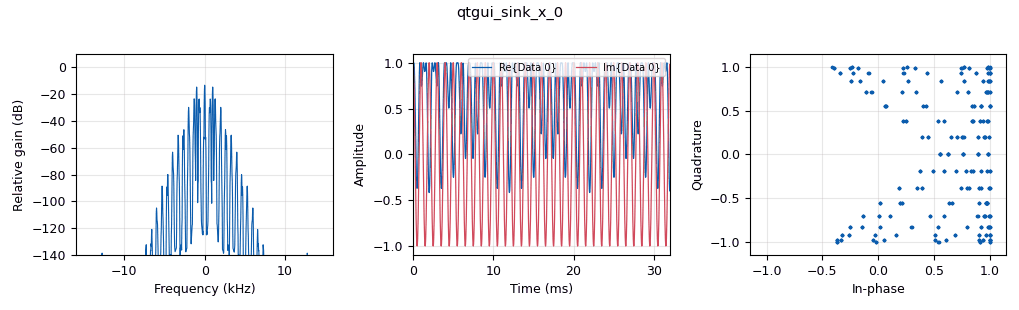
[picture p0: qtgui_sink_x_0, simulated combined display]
<?xml version='1.0' encoding='utf-8'?>
<?grc format='1' created='3.7.7'?>
<flow_graph>
<block>
<key>variable_qtgui_range</key>
<param><key>id</key><value>mic_freq_slider</value></param>
<param><key>label</key><value>Input Ferq</value></param>
<param><key>value</key><value>300</value></param>
<param><key>start</key><value>300</value></param>
<param><key>stop</key><value>3000</value></param>
<param><key>step</key><value>10</value></param>
<param><key>orient</key><value>Qt.Horizontal</value></param>
</block>
<block>
<key>variable</key>
<param><key>id</key><value>samp_rate</value></param>
<param><key>value</key><value>32000</value></param>
</block>
<block>
<key>analog_sig_source_x</key>
<param><key>id</key><value>analog_sig_source_x_0</value></param>
<param><key>type</key><value>complex</value></param>
<param><key>samp_rate</key><value>samp_rate</value></param>
<param><key>waveform</key><value>analog.GR_COS_WAVE</value></param>
<param><key>freq</key><value>1000</value></param>
<param><key>amp</key><value>1</value></param>
<param><key>offset</key><value>0</value></param>
</block>
<block>
<key>analog_sig_source_x</key>
<param><key>id</key><value>analog_sig_source_x_1</value></param>
<param><key>type</key><value>complex</value></param>
<param><key>samp_rate</key><value>samp_rate</value></param>
<param><key>waveform</key><value>analog.GR_COS_WAVE</value></param>
<param><key>freq</key><value>mic_freq_slider</value></param>
<param><key>amp</key><value>1</value></param>
<param><key>offset</key><value>0</value></param>
</block>
<block>
<key>qtgui_sink_x</key>
<param><key>id</key><value>qtgui_sink_x_0</value></param>
<param><key>type</key><value>complex</value></param>
<param><key>fftsize</key><value>1024</value></param>
<param><key>wintype</key><value>firdes.WIN_BLACKMAN_hARRIS</value></param>
<param><key>fc</key><value>0</value></param>
<param><key>bw</key><value>samp_rate</value></param>
<param><key>freqchangevar</key><value>None</value></param>
<param><key>showports</key><value>True</value></param>
</block>
<block>
<key>blocks_add_xx</key>
<param><key>id</key><value>blocks_add_xx_0</value></param>
<param><key>type</key><value>complex</value></param>
</block>
<block>
<key>blocks_throttle</key>
<param><key>id</key><value>blocks_throttle_0</value></param>
<param><key>type</key><value>complex</value></param>
<param><key>samples_per_second</key><value>samp_rate</value></param>
</block>
<block>
<key>analog_sig_source_x</key>
<param><key>id</key><value>analog_sig_source_x_0_0</value></param>
<param><key>type</key><value>float</value></param>
<param><key>samp_rate</key><value>samp_rate</value></param>
<param><key>waveform</key><value>analog.GR_COS_WAVE</value></param>
<param><key>freq</key><value>1000</value></param>
<param><key>amp</key><value>1</value></param>
<param><key>offset</key><value>0</value></param>
</block>
<block>
<key>blocks_complex_to_float</key>
<param><key>id</key><value>blocks_complex_to_float_0</value></param>
</block>
<block>
<key>blocks_float_to_complex</key>
<param><key>id</key><value>blocks_float_to_complex_0</value></param>
</block>
<block>
<key>blocks_transcendental</key>
<param><key>id</key><value>blocks_transcendental_0</value></param>
<param><key>type</key><value>float</value></param>
<param><key>name</key><value>cos</value></param>
</block>
<block>
<key>options</key>
<param><key>id</key><value>pm_modulation</value></param>
<param><key>title</key><value>Phase modulation</value></param>
<param><key>author</key><value>haxwithaxe</value></param>
<param><key>description</key><value>Learning about modulation and demodulation.</value></param>
<param><key>generate_options</key><value>qt_gui</value></param>
<param><key>category</key><value>Custom</value></param>
</block>
<connection><source_block_id>blocks_float_to_complex_0</source_block_id><sink_block_id>qtgui_sink_x_0</sink_block_id><source_key>0</source_key><sink_key>0</sink_key></connection>
<connection><source_block_id>analog_sig_source_x_0</source_block_id><sink_block_id>blocks_add_xx_0</sink_block_id><source_key>0</source_key><sink_key>0</sink_key></connection>
<connection><source_block_id>analog_sig_source_x_1</source_block_id><sink_block_id>blocks_add_xx_0</sink_block_id><source_key>0</source_key><sink_key>1</sink_key></connection>
<connection><source_block_id>blocks_add_xx_0</source_block_id><sink_block_id>blocks_throttle_0</sink_block_id><source_key>0</source_key><sink_key>0</sink_key></connection>
<connection><source_block_id>blocks_throttle_0</source_block_id><sink_block_id>blocks_complex_to_float_0</sink_block_id><source_key>0</source_key><sink_key>0</sink_key></connection>
<connection><source_block_id>analog_sig_source_x_0_0</source_block_id><sink_block_id>blocks_float_to_complex_0</sink_block_id><source_key>0</source_key><sink_key>1</sink_key></connection>
<connection><source_block_id>blocks_complex_to_float_0</source_block_id><sink_block_id>blocks_transcendental_0</sink_block_id><source_key>0</source_key><sink_key>0</sink_key></connection>
<connection><source_block_id>blocks_transcendental_0</source_block_id><sink_block_id>blocks_float_to_complex_0</sink_block_id><source_key>0</source_key><sink_key>0</sink_key></connection>
</flow_graph>
